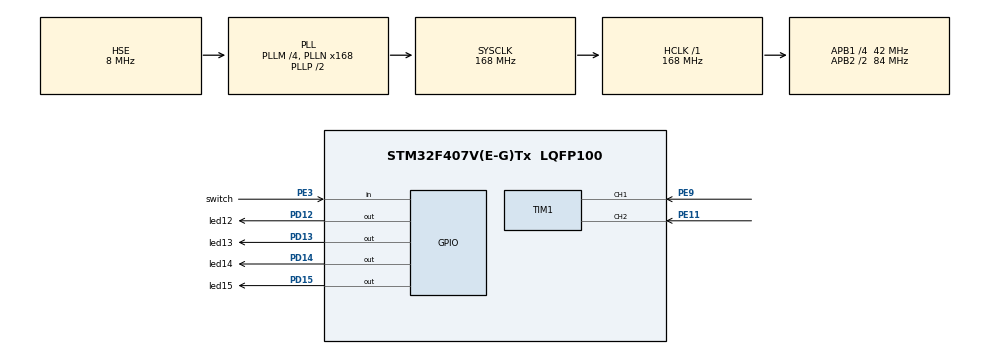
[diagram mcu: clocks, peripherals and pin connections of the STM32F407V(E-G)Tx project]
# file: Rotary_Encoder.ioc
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Mcu.Family=STM32F4
Mcu.Name=STM32F407V(E-G)Tx
Mcu.Package=LQFP100
NVIC.PriorityGroup=NVIC_PRIORITYGROUP_0
PA13.Mode=Serial_Wire
PA13.Signal=SYS_JTMS-SWDIO
PA14.Mode=Serial_Wire
PA14.Signal=SYS_JTCK-SWCLK
PD12.GPIO_Label=led12
PD12.GPIO_Speed=GPIO_SPEED_FREQ_MEDIUM
PD12.Signal=GPIO_Output
PD13.GPIO_Label=led13
PD13.GPIO_Speed=GPIO_SPEED_FREQ_MEDIUM
PD13.Signal=GPIO_Output
PD14.GPIO_Label=led14
PD14.GPIO_Speed=GPIO_SPEED_FREQ_MEDIUM
PD14.Signal=GPIO_Output
PD15.GPIO_Label=led15
PD15.GPIO_Speed=GPIO_SPEED_FREQ_MEDIUM
PD15.Signal=GPIO_Output
PE11.Signal=S_TIM1_CH2
PE3.GPIO_Label=switch
PE3.GPIO_PuPd=GPIO_PULLUP
PE3.Signal=GPIO_Input
PE9.Signal=S_TIM1_CH1
PH0-OSC_IN.Mode=HSE-External-Oscillator
PH0-OSC_IN.Signal=RCC_OSC_IN
PH1-OSC_OUT.Mode=HSE-External-Oscillator
PH1-OSC_OUT.Signal=RCC_OSC_OUT
ProjectManager.HeapSize=0x200
ProjectManager.StackSize=0x400
ProjectManager.TargetToolchain=STM32CubeIDE
RCC.48MHZClocksFreq_Value=48000000
RCC.AHBFreq_Value=168000000
RCC.APB1CLKDivider=RCC_HCLK_DIV4
RCC.APB1Freq_Value=42000000
RCC.APB1TimFreq_Value=84000000
RCC.APB2CLKDivider=RCC_HCLK_DIV2
RCC.APB2Freq_Value=84000000
RCC.APB2TimFreq_Value=168000000
RCC.CortexFreq_Value=168000000
RCC.HCLKFreq_Value=168000000
RCC.HSE_VALUE=8000000
RCC.HSI_VALUE=16000000
RCC.LSE_VALUE=32768
RCC.PLLM=4
RCC.PLLN=168
RCC.PLLQ=7
RCC.PLLSourceVirtual=RCC_PLLSOURCE_HSE
RCC.SYSCLKFreq_VALUE=168000000
RCC.SYSCLKSource=RCC_SYSCLKSOURCE_PLLCLK
RCC.VCOOutputFreq_Value=336000000
SH.S_TIM1_CH1.0=TIM1_CH1,Encoder_Interface
SH.S_TIM1_CH2.0=TIM1_CH2,Encoder_Interface
TIM1.AutoReloadPreload=TIM_AUTORELOAD_PRELOAD_ENABLE
TIM1.EncoderMode=TIM_ENCODERMODE_TI12
TIM1.IC1Filter=10
TIM1.IC2Filter=10
board=STM32F407G-DISC1

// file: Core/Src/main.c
/* USER CODE BEGIN Header */
/**
 ******************************************************************************
 * @file           : main.c
 * @brief          : Main program body
 ******************************************************************************
 * @attention
 *
 * <h2><center>&copy; Copyright (c) 2021 STMicroelectronics.
 * All rights reserved.</center></h2>
 *
 * This software component is licensed by ST under Ultimate Liberty license
 * SLA0044, the "License"; You may not use this file except in compliance with
 * the License. You may obtain a copy of the License at:
 *                             www.st.com/SLA0044
 *
 ******************************************************************************
 */
/* USER CODE END Header */
#include "main.h"

TIM_HandleTypeDef htim1;

/* USER CODE BEGIN PV */
uint16_t encValue = 0;
uint16_t switchValue = 0;

/* USER CODE END PV */

void SystemClock_Config(void);
static void MX_GPIO_Init(void);
static void MX_TIM1_Init(void);

int main(void)
{

  /* MCU Configuration--------------------------------------------------------*/

  /* Reset of all peripherals, Initializes the Flash interface and the Systick. */
  HAL_Init();

  /* Configure the system clock */
  SystemClock_Config();

  /* Initialize all configured peripherals */
  MX_GPIO_Init();
  MX_TIM1_Init();
  /* USER CODE BEGIN 2 */
	HAL_TIM_Encoder_Start(&htim1, TIM_CHANNEL_ALL);

  /* USER CODE END 2 */

  /* Infinite loop */
	while (1) {

    /* USER CODE BEGIN 3 */
		switchValue = HAL_GPIO_ReadPin(switch_GPIO_Port, switch_Pin);
		encValue = (TIM1->CNT) >> 2;

		if (encValue > 20) {
			encValue = 20;
		}
		if(switchValue==0){
			TIM1->CNT=0;
		}

		if (encValue >= 0 && encValue < 5) {
			HAL_GPIO_WritePin(led12_GPIO_Port, led12_Pin, 1);
			HAL_GPIO_WritePin(led13_GPIO_Port, led13_Pin, 0);
			HAL_GPIO_WritePin(led14_GPIO_Port, led14_Pin, 0);
			HAL_GPIO_WritePin(led15_GPIO_Port, led15_Pin, 0);
		}
		if (encValue >= 5 && encValue < 10) {
			HAL_GPIO_WritePin(led12_GPIO_Port, led12_Pin, 1);
			HAL_GPIO_WritePin(led13_GPIO_Port, led13_Pin, 1);
			HAL_GPIO_WritePin(led14_GPIO_Port, led14_Pin, 0);
			HAL_GPIO_WritePin(led15_GPIO_Port, led15_Pin, 0);
		}
		if (encValue >= 10 && encValue < 15) {
			HAL_GPIO_WritePin(led12_GPIO_Port, led12_Pin, 1);
			HAL_GPIO_WritePin(led13_GPIO_Port, led13_Pin, 1);
			HAL_GPIO_WritePin(led14_GPIO_Port, led14_Pin, 1);
			HAL_GPIO_WritePin(led15_GPIO_Port, led15_Pin, 0);
		}
		if (encValue >= 15 && encValue <= 20) {
			HAL_GPIO_WritePin(led12_GPIO_Port, led12_Pin, 1);
			HAL_GPIO_WritePin(led13_GPIO_Port, led13_Pin, 1);
			HAL_GPIO_WritePin(led14_GPIO_Port, led14_Pin, 1);
			HAL_GPIO_WritePin(led15_GPIO_Port, led15_Pin, 1);
		} else {
			HAL_GPIO_WritePin(led12_GPIO_Port, led12_Pin, 0);
			HAL_GPIO_WritePin(led13_GPIO_Port, led13_Pin, 0);
			HAL_GPIO_WritePin(led14_GPIO_Port, led14_Pin, 0);
			HAL_GPIO_WritePin(led15_GPIO_Port, led15_Pin, 0);
		}
	}
  /* USER CODE END 3 */
}

void SystemClock_Config(void)
{
  RCC_OscInitTypeDef RCC_OscInitStruct = {0};
  RCC_ClkInitTypeDef RCC_ClkInitStruct = {0};

  /** Configure the main internal regulator output voltage
  */
  __HAL_RCC_PWR_CLK_ENABLE();
  __HAL_PWR_VOLTAGESCALING_CONFIG(PWR_REGULATOR_VOLTAGE_SCALE1);

  /** Initializes the RCC Oscillators according to the specified parameters
  * in the RCC_OscInitTypeDef structure.
  */
  RCC_OscInitStruct.OscillatorType = RCC_OSCILLATORTYPE_HSE;
  RCC_OscInitStruct.HSEState = RCC_HSE_ON;
  RCC_OscInitStruct.PLL.PLLState = RCC_PLL_ON;
  RCC_OscInitStruct.PLL.PLLSource = RCC_PLLSOURCE_HSE;
  RCC_OscInitStruct.PLL.PLLM = 4;
  RCC_OscInitStruct.PLL.PLLN = 168;
  RCC_OscInitStruct.PLL.PLLP = RCC_PLLP_DIV2;
  RCC_OscInitStruct.PLL.PLLQ = 7;
  if (HAL_RCC_OscConfig(&RCC_OscInitStruct) != HAL_OK)
  {
    Error_Handler();
  }

  /** Initializes the CPU, AHB and APB buses clocks
  */
  RCC_ClkInitStruct.ClockType = RCC_CLOCKTYPE_HCLK|RCC_CLOCKTYPE_SYSCLK
                              |RCC_CLOCKTYPE_PCLK1|RCC_CLOCKTYPE_PCLK2;
  RCC_ClkInitStruct.SYSCLKSource = RCC_SYSCLKSOURCE_PLLCLK;
  RCC_ClkInitStruct.AHBCLKDivider = RCC_SYSCLK_DIV1;
  RCC_ClkInitStruct.APB1CLKDivider = RCC_HCLK_DIV4;
  RCC_ClkInitStruct.APB2CLKDivider = RCC_HCLK_DIV2;

  if (HAL_RCC_ClockConfig(&RCC_ClkInitStruct, FLASH_LATENCY_5) != HAL_OK)
  {
    Error_Handler();
  }
}

static void MX_TIM1_Init(void)
{

  TIM_Encoder_InitTypeDef sConfig = {0};
  TIM_MasterConfigTypeDef sMasterConfig = {0};

  htim1.Instance = TIM1;
  htim1.Init.Prescaler = 0;
  htim1.Init.CounterMode = TIM_COUNTERMODE_UP;
  htim1.Init.Period = 65535;
  htim1.Init.ClockDivision = TIM_CLOCKDIVISION_DIV1;
  htim1.Init.RepetitionCounter = 0;
  htim1.Init.AutoReloadPreload = TIM_AUTORELOAD_PRELOAD_ENABLE;
  sConfig.EncoderMode = TIM_ENCODERMODE_TI12;
  sConfig.IC1Polarity = TIM_ICPOLARITY_RISING;
  sConfig.IC1Selection = TIM_ICSELECTION_DIRECTTI;
  sConfig.IC1Prescaler = TIM_ICPSC_DIV1;
  sConfig.IC1Filter = 10;
  sConfig.IC2Polarity = TIM_ICPOLARITY_RISING;
  sConfig.IC2Selection = TIM_ICSELECTION_DIRECTTI;
  sConfig.IC2Prescaler = TIM_ICPSC_DIV1;
  sConfig.IC2Filter = 10;
  if (HAL_TIM_Encoder_Init(&htim1, &sConfig) != HAL_OK)
  {
    Error_Handler();
  }
  sMasterConfig.MasterOutputTrigger = TIM_TRGO_RESET;
  sMasterConfig.MasterSlaveMode = TIM_MASTERSLAVEMODE_DISABLE;
  if (HAL_TIMEx_MasterConfigSynchronization(&htim1, &sMasterConfig) != HAL_OK)
  {
    Error_Handler();
  }

}

static void MX_GPIO_Init(void)
{
  GPIO_InitTypeDef GPIO_InitStruct = {0};

  /* GPIO Ports Clock Enable */
  __HAL_RCC_GPIOE_CLK_ENABLE();
  __HAL_RCC_GPIOH_CLK_ENABLE();
  __HAL_RCC_GPIOD_CLK_ENABLE();
  __HAL_RCC_GPIOA_CLK_ENABLE();

  /*Configure GPIO pin Output Level */
  HAL_GPIO_WritePin(GPIOD, led12_Pin|led13_Pin|led14_Pin|led15_Pin, GPIO_PIN_RESET);

  /*Configure GPIO pin : switch_Pin */
  GPIO_InitStruct.Pin = switch_Pin;
  GPIO_InitStruct.Mode = GPIO_MODE_INPUT;
  GPIO_InitStruct.Pull = GPIO_PULLUP;
  HAL_GPIO_Init(switch_GPIO_Port, &GPIO_InitStruct);

  /*Configure GPIO pins : led12_Pin led13_Pin led14_Pin led15_Pin */
  GPIO_InitStruct.Pin = led12_Pin|led13_Pin|led14_Pin|led15_Pin;
  GPIO_InitStruct.Mode = GPIO_MODE_OUTPUT_PP;
  GPIO_InitStruct.Pull = GPIO_NOPULL;
  GPIO_InitStruct.Speed = GPIO_SPEED_FREQ_MEDIUM;
  HAL_GPIO_Init(GPIOD, &GPIO_InitStruct);

}

void Error_Handler(void)
{
	__disable_irq();
	while (1) {
	}
}
